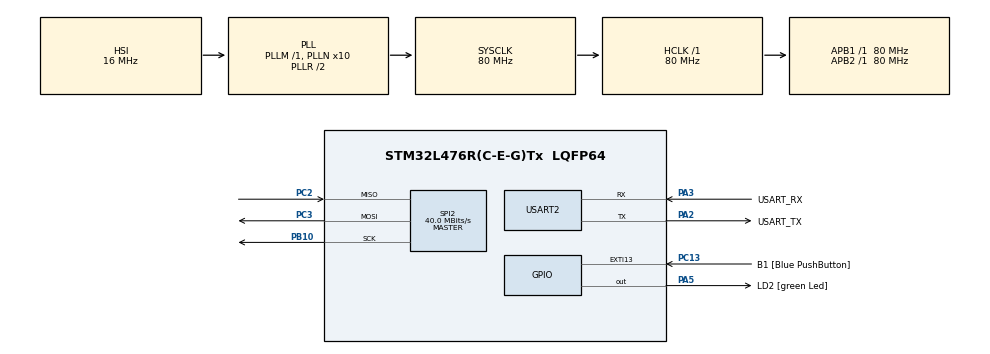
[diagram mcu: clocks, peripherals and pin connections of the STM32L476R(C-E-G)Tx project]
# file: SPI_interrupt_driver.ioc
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Mcu.Family=STM32L4
Mcu.Name=STM32L476R(C-E-G)Tx
Mcu.Package=LQFP64
NVIC.PriorityGroup=NVIC_PRIORITYGROUP_4
PA13\ (JTMS-SWDIO).GPIO_Label=TMS
PA13\ (JTMS-SWDIO).Mode=Serial_Wire
PA13\ (JTMS-SWDIO).Signal=SYS_JTMS-SWDIO
PA14\ (JTCK-SWCLK).GPIO_Label=TCK
PA14\ (JTCK-SWCLK).Mode=Serial_Wire
PA14\ (JTCK-SWCLK).Signal=SYS_JTCK-SWCLK
PA2.GPIO_Label=USART_TX
PA2.GPIO_Mode=GPIO_MODE_AF_PP
PA2.GPIO_PuPd=GPIO_NOPULL
PA2.GPIO_Speed=GPIO_SPEED_FREQ_VERY_HIGH
PA2.Mode=Asynchronous
PA2.Signal=USART2_TX
PA3.GPIO_Label=USART_RX
PA3.GPIO_Mode=GPIO_MODE_AF_PP
PA3.GPIO_PuPd=GPIO_NOPULL
PA3.GPIO_Speed=GPIO_SPEED_FREQ_VERY_HIGH
PA3.Mode=Asynchronous
PA3.Signal=USART2_RX
PA5.GPIO_Label=LD2 [green Led]
PA5.GPIO_ModeDefaultOutputPP=GPIO_MODE_OUTPUT_PP
PA5.GPIO_PuPd=GPIO_NOPULL
PA5.GPIO_Speed=GPIO_SPEED_FREQ_LOW
PA5.Signal=GPIO_Output
PB10.Mode=Full_Duplex_Master
PB10.Signal=SPI2_SCK
PB3\ (JTDO-TRACESWO).GPIO_Label=SWO
PB3\ (JTDO-TRACESWO).Signal=SYS_JTDO-SWO
PC13.GPIO_Label=B1 [Blue PushButton]
PC13.GPIO_ModeDefaultEXTI=GPIO_MODE_IT_FALLING
PC13.GPIO_PuPd=GPIO_NOPULL
PC13.Signal=GPXTI13
PC14-OSC32_IN\ (PC14).Mode=LSE-External-Oscillator
PC14-OSC32_IN\ (PC14).Signal=RCC_OSC32_IN
PC15-OSC32_OUT\ (PC15).Mode=LSE-External-Oscillator
PC15-OSC32_OUT\ (PC15).Signal=RCC_OSC32_OUT
PC2.Mode=Full_Duplex_Master
PC2.Signal=SPI2_MISO
PC3.Mode=Full_Duplex_Master
PC3.Signal=SPI2_MOSI
PH0-OSC_IN\ (PH0).Signal=RCC_OSC_IN
PH1-OSC_OUT\ (PH1).Signal=RCC_OSC_OUT
ProjectManager.HeapSize=0x200
ProjectManager.StackSize=0x400
ProjectManager.TargetToolchain=STM32CubeIDE
RCC.ADCFreq_Value=64000000
RCC.AHBFreq_Value=80000000
RCC.APB1Freq_Value=80000000
RCC.APB1TimFreq_Value=80000000
RCC.APB2Freq_Value=80000000
RCC.APB2TimFreq_Value=80000000
RCC.CortexFreq_Value=80000000
RCC.HCLKFreq_Value=80000000
RCC.HSE_VALUE=8000000
RCC.HSI_VALUE=16000000
RCC.MSI_VALUE=4000000
RCC.PLLN=10
RCC.PLLSourceVirtual=RCC_PLLSOURCE_HSI
RCC.PREFETCH_ENABLE=1
RCC.SYSCLKFreq_VALUE=80000000
RCC.SYSCLKSource=RCC_SYSCLKSOURCE_PLLCLK
RCC.USBFreq_Value=64000000
RCC.VCOOutputFreq_Value=160000000
SPI2.CalculateBaudRate=40.0 MBits/s
SPI2.Direction=SPI_DIRECTION_2LINES
SPI2.Mode=SPI_MODE_MASTER
SPI2.VirtualType=VM_MASTER
USART2.VirtualMode-Asynchronous=VM_ASYNC
board=NUCLEO-L476RG

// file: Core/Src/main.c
/* USER CODE BEGIN Header */
/**
  ******************************************************************************
  * @file           : main.c
  * @brief          : Main program body
  ******************************************************************************
  */
/* USER CODE END Header */

#include "main.h"

/* USER CODE BEGIN Includes */
#include <stdio.h>
#include <string.h>
/* USER CODE END Includes */

/* USER CODE BEGIN PD */
#define SPI_TRANSFER_SIZE  1
/* USER CODE END PD */

SPI_HandleTypeDef hspi2;
UART_HandleTypeDef huart2;

/* USER CODE BEGIN PV */
uint8_t txData[SPI_TRANSFER_SIZE] = {0x55};
uint8_t rxData[SPI_TRANSFER_SIZE] = {0};

volatile uint8_t spiTransferDone = 0;
char msg[100];
/* USER CODE END PV */

void SystemClock_Config(void);
static void MX_GPIO_Init(void);
static void MX_USART2_UART_Init(void);
static void MX_SPI2_Init(void);

/* USER CODE BEGIN PFP */
void UART_Print(char *str);
/* USER CODE END PFP */

/* USER CODE BEGIN 0 */
void UART_Print(char *str)
{
  HAL_UART_Transmit(&huart2, (uint8_t *)str, strlen(str), HAL_MAX_DELAY);
}
void HAL_SPI_TxRxCpltCallback(SPI_HandleTypeDef *hspi)
{
  if(hspi->Instance == SPI2)
  {
    spiTransferDone = 1;
  }
}

void HAL_SPI_ErrorCallback(SPI_HandleTypeDef *hspi)
{
  if(hspi->Instance == SPI2)
  {
    UART_Print("SPI Interrupt Transfer Error\r\n");
  }
}
/* USER CODE END 0 */

int main(void)
{
  HAL_Init();
  SystemClock_Config();

  MX_GPIO_Init();
  MX_USART2_UART_Init();
  MX_SPI2_Init();

  /* USER CODE BEGIN 2 */
  UART_Print("=== SPI2 Interrupt Driver Test ===\r\n");
  UART_Print("Connect SPI2 MOSI to SPI2 MISO for loopback test.\r\n\r\n");
  /* USER CODE END 2 */

  while (1)
  {
    /* Start SPI interrupt transfer */
    spiTransferDone = 0;
    rxData[0] = 0;

    if(HAL_SPI_TransmitReceive_IT(&hspi2, txData, rxData, SPI_TRANSFER_SIZE) != HAL_OK)
    {
      UART_Print("SPI Busy or Start Failed\r\n");
    }

    /* CPU is free here */
    HAL_Delay(100);

    /* Check completion flag set by callback */
    if(spiTransferDone)
    {
      sprintf(msg, "TX = 0x%02X   RX = 0x%02X\r\n", txData[0], rxData[0]);
      UART_Print(msg);

      HAL_GPIO_TogglePin(LD2_GPIO_Port, LD2_Pin);
      txData[0]++;
    }

    HAL_Delay(900);
  }
}

void SystemClock_Config(void)
{
  RCC_OscInitTypeDef RCC_OscInitStruct = {0};
  RCC_ClkInitTypeDef RCC_ClkInitStruct = {0};

  if (HAL_PWREx_ControlVoltageScaling(PWR_REGULATOR_VOLTAGE_SCALE1) != HAL_OK)
  {
    Error_Handler();
  }

  RCC_OscInitStruct.OscillatorType = RCC_OSCILLATORTYPE_HSI;
  RCC_OscInitStruct.HSIState = RCC_HSI_ON;
  RCC_OscInitStruct.HSICalibrationValue = RCC_HSICALIBRATION_DEFAULT;
  RCC_OscInitStruct.PLL.PLLState = RCC_PLL_ON;
  RCC_OscInitStruct.PLL.PLLSource = RCC_PLLSOURCE_HSI;
  RCC_OscInitStruct.PLL.PLLM = 1;
  RCC_OscInitStruct.PLL.PLLN = 10;
  RCC_OscInitStruct.PLL.PLLP = RCC_PLLP_DIV7;
  RCC_OscInitStruct.PLL.PLLQ = RCC_PLLQ_DIV2;
  RCC_OscInitStruct.PLL.PLLR = RCC_PLLR_DIV2;

  if (HAL_RCC_OscConfig(&RCC_OscInitStruct) != HAL_OK)
  {
    Error_Handler();
  }

  RCC_ClkInitStruct.ClockType = RCC_CLOCKTYPE_HCLK |
                                RCC_CLOCKTYPE_SYSCLK |
                                RCC_CLOCKTYPE_PCLK1 |
                                RCC_CLOCKTYPE_PCLK2;
  RCC_ClkInitStruct.SYSCLKSource = RCC_SYSCLKSOURCE_PLLCLK;
  RCC_ClkInitStruct.AHBCLKDivider = RCC_SYSCLK_DIV1;
  RCC_ClkInitStruct.APB1CLKDivider = RCC_HCLK_DIV1;
  RCC_ClkInitStruct.APB2CLKDivider = RCC_HCLK_DIV1;

  if (HAL_RCC_ClockConfig(&RCC_ClkInitStruct, FLASH_LATENCY_4) != HAL_OK)
  {
    Error_Handler();
  }
}

static void MX_SPI2_Init(void)
{
  hspi2.Instance = SPI2;
  hspi2.Init.Mode = SPI_MODE_MASTER;
  hspi2.Init.Direction = SPI_DIRECTION_2LINES;
  hspi2.Init.DataSize = SPI_DATASIZE_8BIT;
  hspi2.Init.CLKPolarity = SPI_POLARITY_LOW;
  hspi2.Init.CLKPhase = SPI_PHASE_1EDGE;
  hspi2.Init.NSS = SPI_NSS_SOFT;
  hspi2.Init.BaudRatePrescaler = SPI_BAUDRATEPRESCALER_16;
  hspi2.Init.FirstBit = SPI_FIRSTBIT_MSB;
  hspi2.Init.TIMode = SPI_TIMODE_DISABLE;
  hspi2.Init.CRCCalculation = SPI_CRCCALCULATION_DISABLE;
  hspi2.Init.CRCPolynomial = 7;
  hspi2.Init.CRCLength = SPI_CRC_LENGTH_DATASIZE;
  hspi2.Init.NSSPMode = SPI_NSS_PULSE_DISABLE;

  if (HAL_SPI_Init(&hspi2) != HAL_OK)
  {
    Error_Handler();
  }
}

static void MX_USART2_UART_Init(void)
{
  huart2.Instance = USART2;
  huart2.Init.BaudRate = 115200;
  huart2.Init.WordLength = UART_WORDLENGTH_8B;
  huart2.Init.StopBits = UART_STOPBITS_1;
  huart2.Init.Parity = UART_PARITY_NONE;
  huart2.Init.Mode = UART_MODE_TX_RX;
  huart2.Init.HwFlowCtl = UART_HWCONTROL_NONE;
  huart2.Init.OverSampling = UART_OVERSAMPLING_16;
  huart2.Init.OneBitSampling = UART_ONE_BIT_SAMPLE_DISABLE;
  huart2.AdvancedInit.AdvFeatureInit = UART_ADVFEATURE_NO_INIT;

  if (HAL_UART_Init(&huart2) != HAL_OK)
  {
    Error_Handler();
  }
}

static void MX_GPIO_Init(void)
{
  GPIO_InitTypeDef GPIO_InitStruct = {0};

  __HAL_RCC_GPIOC_CLK_ENABLE();
  __HAL_RCC_GPIOH_CLK_ENABLE();
  __HAL_RCC_GPIOA_CLK_ENABLE();
  __HAL_RCC_GPIOB_CLK_ENABLE();

  HAL_GPIO_WritePin(LD2_GPIO_Port, LD2_Pin, GPIO_PIN_RESET);

  GPIO_InitStruct.Pin = B1_Pin;
  GPIO_InitStruct.Mode = GPIO_MODE_IT_FALLING;
  GPIO_InitStruct.Pull = GPIO_NOPULL;
  HAL_GPIO_Init(B1_GPIO_Port, &GPIO_InitStruct);

  GPIO_InitStruct.Pin = LD2_Pin;
  GPIO_InitStruct.Mode = GPIO_MODE_OUTPUT_PP;
  GPIO_InitStruct.Pull = GPIO_NOPULL;
  GPIO_InitStruct.Speed = GPIO_SPEED_FREQ_LOW;
  HAL_GPIO_Init(LD2_GPIO_Port, &GPIO_InitStruct);
}

void Error_Handler(void)
{
  __disable_irq();
  while (1)
  {
    HAL_GPIO_TogglePin(LD2_GPIO_Port, LD2_Pin);
    HAL_Delay(200);
  }
}
